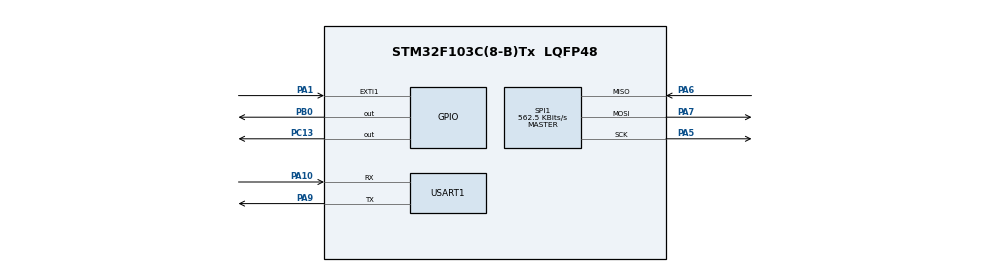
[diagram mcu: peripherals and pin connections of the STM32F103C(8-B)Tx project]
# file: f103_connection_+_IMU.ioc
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Dma.Request0=USART1_TX
Dma.USART1_TX.0.Direction=DMA_MEMORY_TO_PERIPH
Dma.USART1_TX.0.Instance=DMA1_Channel4
Dma.USART1_TX.0.MemDataAlignment=DMA_MDATAALIGN_BYTE
Dma.USART1_TX.0.MemInc=DMA_MINC_ENABLE
Dma.USART1_TX.0.Mode=DMA_NORMAL
Dma.USART1_TX.0.PeriphDataAlignment=DMA_PDATAALIGN_BYTE
Dma.USART1_TX.0.PeriphInc=DMA_PINC_DISABLE
Dma.USART1_TX.0.Priority=DMA_PRIORITY_LOW
Mcu.Family=STM32F1
Mcu.Name=STM32F103C(8-B)Tx
Mcu.Package=LQFP48
NVIC.DMA1_Channel4_IRQn=true\:0\:0\:false\:false\:true\:false\:true\:true
NVIC.EXTI1_IRQn=true\:0\:0\:false\:false\:true\:true\:true\:true
NVIC.PriorityGroup=NVIC_PRIORITYGROUP_4
PA1.Signal=GPXTI1
PA10.Mode=Asynchronous
PA10.Signal=USART1_RX
PA13.Mode=Serial_Wire
PA13.Signal=SYS_JTMS-SWDIO
PA14.Mode=Serial_Wire
PA14.Signal=SYS_JTCK-SWCLK
PA5.Mode=Full_Duplex_Master
PA5.Signal=SPI1_SCK
PA6.Mode=Full_Duplex_Master
PA6.Signal=SPI1_MISO
PA7.Mode=Full_Duplex_Master
PA7.Signal=SPI1_MOSI
PA9.Mode=Asynchronous
PA9.Signal=USART1_TX
PB0.GPIO_PuPd=GPIO_PULLDOWN
PB0.GPIO_Speed=GPIO_SPEED_FREQ_HIGH
PB0.PinState=GPIO_PIN_RESET
PB0.Signal=GPIO_Output
PC13-TAMPER-RTC.Signal=GPIO_Output
PD0-OSC_IN.Mode=HSE-External-Oscillator
PD0-OSC_IN.Signal=RCC_OSC_IN
PD1-OSC_OUT.Mode=HSE-External-Oscillator
PD1-OSC_OUT.Signal=RCC_OSC_OUT
ProjectManager.HeapSize=0x200
ProjectManager.StackSize=0x400
ProjectManager.TargetToolchain=STM32CubeIDE
RCC.AHBFreq_Value=72000000
RCC.APB1CLKDivider=RCC_HCLK_DIV2
RCC.APB1Freq_Value=36000000
RCC.APB1TimFreq_Value=72000000
RCC.APB2Freq_Value=72000000
RCC.APB2TimFreq_Value=72000000
RCC.HCLKFreq_Value=72000000
RCC.PLLMUL=RCC_PLL_MUL9
RCC.PLLSourceVirtual=RCC_PLLSOURCE_HSE
RCC.SYSCLKFreq_VALUE=72000000
RCC.SYSCLKSource=RCC_SYSCLKSOURCE_PLLCLK
RCC.USBFreq_Value=72000000
SPI1.BaudRatePrescaler=SPI_BAUDRATEPRESCALER_128
SPI1.CalculateBaudRate=562.5 KBits/s
SPI1.Direction=SPI_DIRECTION_2LINES
SPI1.Mode=SPI_MODE_MASTER
SPI1.VirtualType=VM_MASTER
USART1.VirtualMode=VM_ASYNC
USART1.WordLength=WORDLENGTH_8B
board=custom

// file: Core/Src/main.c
/* USER CODE BEGIN Header */
/**
  ******************************************************************************
  * @file           : main.c
  * @brief          : Main program body
  ******************************************************************************
  * @attention
  *
  * Copyright (c) 2023 STMicroelectronics.
  * All rights reserved.
  *
  * This software is licensed under terms that can be found in the LICENSE file
  * in the root directory of this software component.
  * If no LICENSE file comes with this software, it is provided AS-IS.
  *
  ******************************************************************************
  */
/* USER CODE END Header */
#include "main.h"
#include "dma.h"
#include "spi.h"
#include "usart.h"
#include "gpio.h"

/* USER CODE BEGIN Includes */
#include "MPU9250.h"
#include "vector.h"
/* USER CODE END Includes */

/* USER CODE BEGIN PV */
  extern uint8_t flag_tx;
  extern uint8_t flag_CALLBACK;
  uint8_t TX_data[100] = {};

  extern uint8_t cnt;
    Vector3f MagShift,AccShift,GyroShift;
    Matrix3f MagCalibr, AccCalibr;
    Vector3f Mag, Acc, Mag0, Gyr;
    Vector3f MagR, AccR;
    Vector3f Mag, Acc;
    int16_t AccData[3]={1,1,1};
    int16_t MagData[3]={1,1,1};
    int16_t GyroData[3]={1,1,1};

    Vector3f vX, vY, vZ;
    Matrix3f M0, M1, M2, M3;
    Vector3f Euler;
    Vector3f EulerF;
    Vector3f EulerF2;

    int optimer=0;
    uint16_t Code;

    uint8_t bufArd[30];
    char str0[100];

/* USER CODE END PV */

void SystemClock_Config(void);
/* USER CODE BEGIN PFP */

void UART_to_Computer (uint8_t data[])
{
	//uint16_t size = sizeof(data)/sizeof(uint8_t);
	uint16_t size = strlen(data);

	uint16_t ind = 0;
	while (ind<=size)
	  {
		while (!LL_USART_IsActiveFlag_TXE(USART1))
		;
		LL_USART_TransmitData8(USART1, (data[ind]));
		ind++;
	  }
}

void UART_TX_to_computer_DMA(unsigned char data[])
	{
	  //uint16_t size = sizeof(data)+1;
	  uint16_t size = strlen(data);
	  LL_DMA_DisableChannel(DMA1, LL_DMA_CHANNEL_4);
	  LL_DMA_SetDataLength(DMA1, LL_DMA_CHANNEL_4, size);
	  LL_DMA_EnableChannel(DMA1, LL_DMA_CHANNEL_4);
	  while (!flag_tx) {;}
	  flag_tx=0;
	}

void DMA1_TransmitComplete(void)
{
  flag_tx = 1;
}
/* USER CODE END PFP */

int main(void)
{

  /* MCU Configuration--------------------------------------------------------*/

  /* Reset of all peripherals, Initializes the Flash interface and the Systick. */
  HAL_Init();

  /* Configure the system clock */
  SystemClock_Config();

  /* Initialize all configured peripherals */
  MX_GPIO_Init();
  MX_DMA_Init();
  MX_USART1_UART_Init();
  MX_SPI1_Init();
  /* USER CODE BEGIN 2 */
  LL_DMA_DisableChannel(DMA1, LL_DMA_CHANNEL_4); // Отключаем каналы DMA перед настройкой
  LL_DMA_DisableChannel(DMA1, LL_DMA_CHANNEL_5);
  LL_DMA_ClearFlag_TC4(DMA1); // Явно сбрасываем все флаги
  LL_DMA_ClearFlag_TE4(DMA1);
  LL_USART_EnableDMAReq_TX(USART1); // Разрешаем DMA работать с USART1
  LL_DMA_EnableIT_TC(DMA1, LL_DMA_CHANNEL_4); // Разрешаем прерывания DMA на завершение передачи
  LL_DMA_EnableIT_TE(DMA1, LL_DMA_CHANNEL_4); // Разрешаем прерывания DMA на ошибку
  LL_DMA_ClearFlag_GI4(DMA1); // Сбрасываем флаги которые могли подняться после предидущих двух строчек
  LL_DMA_ClearFlag_TC4(DMA1);
  LL_DMA_ClearFlag_TE4(DMA1);
  // Дальше даём DMA указатель на буффер из которого пересылать данные
  LL_DMA_ConfigAddresses(DMA1,
		  	  	  	  	  LL_DMA_CHANNEL_4,
						  &TX_data,
						  LL_USART_DMA_GetRegAddr(USART1),
						  LL_DMA_GetDataTransferDirection(DMA1, LL_DMA_CHANNEL_4));
  	int st;
	st = MPU_begin();
	HAL_Delay(100);
	enableDataReadyInterrupt();
	HAL_Delay(100);
	setSrd(0);
  /* USER CODE END 2 */

  /* Infinite loop */
  /* USER CODE BEGIN WHILE */
  while (1)
  {

	 // LL_mDelay(1);
	 // readSensor3(AccData, MagData, GyroData);
	 // sprintf(str1,"%08d;%08d;%08d;%08d;%08d;%08d;%08d;%08d;%08d\r\n", (int16_t)AccData[1], (int16_t)AccData[2], (int16_t)AccData[3], (int16_t)MagData[1], (int16_t)MagData[2], (int16_t)MagData[3], (int16_t)GyroData[1], (int16_t)GyroData[2], (int16_t)GyroData[3]);
		 //CDC_Transmit_FS((unsigned char*)str1, strlen(str1));
	  //UART_TX_to_computer_DMA(str1);
	  /*
	  UART_TX_to_computer_DMA(TX_data);
	  LL_GPIO_TogglePin(GPIOC, LL_GPIO_PIN_13);
	  LL_mDelay(500);
	  LL_GPIO_TogglePin(GPIOC, LL_GPIO_PIN_13);
	  LL_mDelay(500);
	  LL_GPIO_TogglePin(GPIOC, LL_GPIO_PIN_13);
	  LL_mDelay(500);
	  LL_GPIO_TogglePin(GPIOC, LL_GPIO_PIN_13);
	  */
	// HAL_UART_Transmit(&huart1, TX_data, sizeof(TX_data), 0xFFFF);
	// UART_to_Computer(TX_data);

	  //sprintf(z, "%08d\r\n", (int16_t)readSensor());
	  //snprintf (TX_data, sizeof(), "%08d", readSensor());

	//  UART_to_Computer(TX_data);
	//  LL_mDelay(2000);
	// LL_GPIO_TogglePin(GPIOC, LL_GPIO_PIN_13);
	// LL_mDelay(200);
    /* USER CODE END WHILE */

  }
}

void SystemClock_Config(void)
{
  LL_FLASH_SetLatency(LL_FLASH_LATENCY_2);
  while(LL_FLASH_GetLatency()!= LL_FLASH_LATENCY_2)
  {
  }
  LL_RCC_HSE_Enable();

   /* Wait till HSE is ready */
  while(LL_RCC_HSE_IsReady() != 1)
  {

  }
  LL_RCC_PLL_ConfigDomain_SYS(LL_RCC_PLLSOURCE_HSE_DIV_1, LL_RCC_PLL_MUL_9);
  LL_RCC_PLL_Enable();

   /* Wait till PLL is ready */
  while(LL_RCC_PLL_IsReady() != 1)
  {

  }
  LL_RCC_SetAHBPrescaler(LL_RCC_SYSCLK_DIV_1);
  LL_RCC_SetAPB1Prescaler(LL_RCC_APB1_DIV_2);
  LL_RCC_SetAPB2Prescaler(LL_RCC_APB2_DIV_1);
  LL_RCC_SetSysClkSource(LL_RCC_SYS_CLKSOURCE_PLL);

   /* Wait till System clock is ready */
  while(LL_RCC_GetSysClkSource() != LL_RCC_SYS_CLKSOURCE_STATUS_PLL)
  {

  }
  LL_SetSystemCoreClock(72000000);

   /* Update the time base */
  if (HAL_InitTick (TICK_INT_PRIORITY) != HAL_OK)
  {
    Error_Handler();
  }
}

/* USER CODE BEGIN 4 */

void ProcessHeadTracking()
{
	readSensor3(AccData, MagData, GyroData);
	calibrateData();
	processEulerMatrix();
	processArduinoReport();
}

void SendTestData()
{
	readSensor3(AccData, MagData, GyroData);
	calibrateData();
	processEulerMatrix();
	 sprintf(str0,"%08d;%08d;%08d;%08d;%08d;%08d\r\n", (int16_t)Euler[0], (int16_t)Euler[1], (int16_t)Euler[2], (int16_t)Gyr[0], (int16_t)Gyr[1], (int16_t)Gyr[2]);
 	 CDC_Transmit_FS((unsigned char*)str0, strlen(str0));
}

void calibrateData()
  {
	  MagR[0]=(float)MagData[0]-MagShift[0];
	  MagR[1]=(float)MagData[1]-MagShift[1];
	  MagR[2]=(float)MagData[2]-MagShift[2];
	  V3fTransform(MagR, MagCalibr, Mag0);
	  Mag[0] = Mag0[1];
	  Mag[1] = Mag0[0];
	  Mag[2] = -Mag0[2];
	  AccR[0]=(float)AccData[0]-AccShift[0];
	  AccR[1]=(float)AccData[1]-AccShift[1];
	  AccR[2]=(float)AccData[2]-AccShift[2];
	  V3fTransform(AccR, AccCalibr, Acc);
	  Gyr[0]=(float)GyroData[0]-GyroShift[0];
	  Gyr[1]=(float)GyroData[1]-GyroShift[1];
	  Gyr[2]=(float)GyroData[2]-GyroShift[2];
  }

void processEulerMatrix()
{
	  V3fReject(Mag, Acc, vX);
	  V3fNormalizeSelf(vX);
	  V3fNormalize(Acc, vZ);

	  V3fCross(vZ,vX,vY);
	  M3fSetRow(M1,vX,0);
	  M3fSetRow(M1,vY,1);
	  M3fSetRow(M1,vZ,2);

	  uint8_t ttt= M3fInvert(M1, M3);

	  M3fMultiply(M3, M0, M2);
	  M3fGetEuler(M2, Euler);
	  V3fMult(Euler, 50);

	  EulerF[0]=((EulerF[0]-(float)GyroData[0]*0.0000065f)*0.9995f) + (Euler[0]*0.0005f);
	  EulerF[1]=((EulerF[1]-(float)GyroData[1]*0.0000065f)*0.9995f) + (Euler[1]*0.0005f);
	  EulerF[2]=((EulerF[2]-(float)GyroData[2]*0.0000065f)*0.9995f) + (Euler[2]*0.0005f);
}

void TransmitSensorData()
{
	 optimer++;
	 if (optimer>10000) {optimer=0;}
	 readSensor();
	 if (optimer%50==0)
	  {
		 //Передача данных в ком порт 20 раз в сек, а сбор по прерыванию 1000 раз в сек
		 sprintf(TX_data,"c = %08d;%08d;%08d;%08d;%08d;%08d;%08d;%08d;%08d\r\n", (int16_t)_axcounts, (int16_t)_aycounts, (int16_t)_azcounts, (int16_t)_hxcounts, (int16_t)_hycounts, (int16_t)_hzcounts, (int16_t)_gxcounts, (int16_t)_gycounts, (int16_t)_gzcounts);
		 //CDC_Transmit_FS((unsigned char*)str1, strlen(str1));
		 UART_TX_to_computer_DMA(TX_data);
	  }
}

void processArduinoReport()
  {
	  optimer++;
	  if (optimer>10000) {optimer=0;}

	  EulerF2[0]=EulerF2[0]*0.9f+EulerF[0]*0.1f;
	  EulerF2[1]=EulerF2[1]*0.9f+EulerF[1]*0.1f;
	  EulerF2[2]=EulerF2[2]*0.9f+EulerF[2]*0.1f;

	  if (optimer%1==0)
	  {
		  Code++;
		  if (Code>999)
			  Code=0;

			bufArd[0]=(uint8_t)(0xAA);
			bufArd[1]=(uint8_t)(0xAA);
			bufArd[2]=(uint8_t)Code;
			bufArd[3]=(uint8_t)(Code>>8);

			bufArd[4]=(uint8_t)0x00;
			bufArd[5]=(uint8_t)0x00;
			bufArd[6]=(uint8_t)0x00;
			bufArd[7]=(uint8_t)0x00;

			bufArd[8]=(uint8_t)0x00;
			bufArd[9]=(uint8_t)0x00;
			bufArd[10]=(uint8_t)0x00;
			bufArd[11]=(uint8_t)0x00;

			bufArd[12]=(uint8_t)0x00;
			bufArd[13]=(uint8_t)0x00;
			bufArd[14]=(uint8_t)0x00;
			bufArd[15]=(uint8_t)0x00;

			bufArd[16]=(uint8_t) 0x00;
			bufArd[17]=(uint8_t) 0x00;
			bufArd[18]=(uint8_t) 0x00;
			bufArd[19]=(uint8_t) 0x00;

			bufArd[20]=(uint8_t) 0x00;
			bufArd[21]=(uint8_t) 0x00;
			bufArd[22]=(uint8_t) 0x00;
			bufArd[23]=(uint8_t) 0x00;

			bufArd[24]=(uint8_t) 0x00;
			bufArd[25]=(uint8_t) 0x00;
			bufArd[26]=(uint8_t) 0x00;
			bufArd[27]=(uint8_t) 0x00;

			bufArd[28]=(uint8_t)(0x55);
			bufArd[29]=(uint8_t)(0x55);

			floatToByteArray(EulerF2[0],bufArd,4);
			floatToByteArray(EulerF2[1],bufArd,8);
			floatToByteArray(EulerF2[2],bufArd,12);

			CDC_Transmit_FS(bufArd,30);
	  }

  }

void HAL_GPIO_EXTI_Callback(uint16_t GPIO_Pin)
{
		//ProcessHeadTracking();
		//SendTestData();
		TransmitSensorData();
		cnt++;
		if (cnt>=250)
		{
			HAL_GPIO_TogglePin(GPIOC, GPIO_PIN_13);
			cnt=0;
		}
}
/* USER CODE END 4 */

void Error_Handler(void)
{
  __disable_irq();
  while (1)
  {
  }
}
